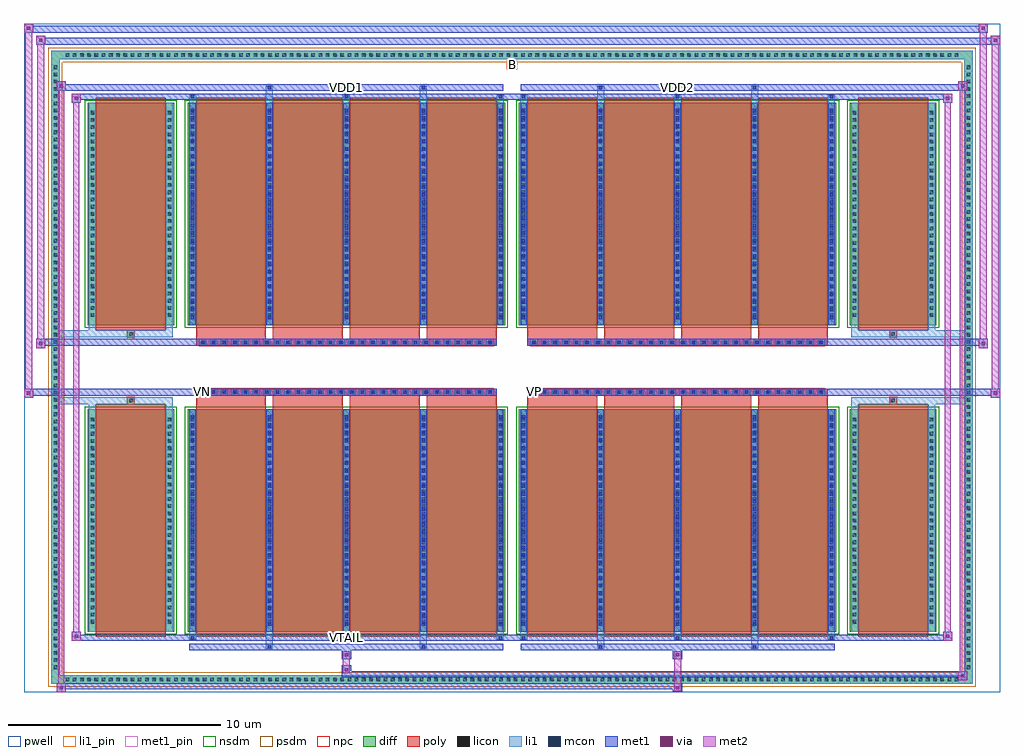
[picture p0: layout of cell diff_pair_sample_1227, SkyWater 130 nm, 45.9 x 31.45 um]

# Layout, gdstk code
import gdstk
lib = gdstk.Library(unit=1e-6, precision=5e-09)
def R(c, l, rs):  # rectangles x0, y0, x1, y1
    for r in rs: c.add(gdstk.rectangle(r[:2], r[2:], *l))
def A(c, l, x, y, w, h, nx, ny, dx, dy):  # array of equal rectangles
    R(c, l, [(x+i*dx, y+j*dy, x+i*dx+w, y+j*dy+h) for i in range(nx) for j in range(ny)])
def P(c, l, *ps):  # polygons
    for p in ps: c.add(gdstk.Polygon(p, *l))
pwell = (64, 44)
diff = (65, 20)
poly = (66, 20)
licon = (66, 44)
li1_pin = (67, 16)
li1 = (67, 20)
mcon = (67, 44)
met1_pin = (68, 16)
met1 = (68, 20)
via = (68, 44)
met2 = (69, 20)
nsdm = (93, 44)
psdm = (94, 20)
npc = (95, 20)

diff_pair_sample_1227 = lib.new_cell('diff_pair_sample_1227')
R(diff_pair_sample_1227, pwell, [(-22.95,-15.29,22.95,16.16), (-20.27,-13.48,-0.01,-0.8), (0.01,-13.48,20.27,-0.8), (-20.27,0.8,-0.01,13.48), (0.01,0.8,20.27,13.48)])
A(diff_pair_sample_1227, diff, -21.115, -14.89, 0.41, 0.41, 124, 2, 0.34, 29.37)
A(diff_pair_sample_1227, diff, -21.68, -14.315, 0.41, 0.41, 1, 84, 0, 0.34)
A(diff_pair_sample_1227, diff, 21.27, -14.315, 0.41, 0.41, 1, 84, 0, 0.34)
R(diff_pair_sample_1227, diff, [(-21.115,-14.89,21.115,-14.48), (-21.68,-14.315,-21.27,14.315), (21.27,-14.315,21.68,14.315), (-19.96,-12.435,-15.89,-1.985), (-15.25,-12.435,-0.32,-1.985), (0.32,-12.435,15.25,-1.985), (15.89,-12.435,19.96,-1.985), (-19.96,1.985,-15.89,12.435), (-15.25,1.985,-0.32,12.435), (0.32,1.985,15.25,12.435), (15.89,1.985,19.96,12.435), (-21.115,14.48,21.115,14.89)])
P(diff_pair_sample_1227, diff, [(21.68,14.89),(-21.68,14.89),(-21.68,-14.48),(-21.27,-14.48),(-21.27,14.48),(21.27,14.48),(21.27,-14.48),(-21.27,-14.48),(-21.68,-14.48),(-21.68,-14.89),(21.68,-14.89)])
A(diff_pair_sample_1227, poly, -14.86, -12.685, 3.29, 10.95, 4, 2, 3.62, 14.42)
A(diff_pair_sample_1227, poly, 0.71, -12.685, 3.29, 10.95, 4, 2, 3.62, 14.42)
A(diff_pair_sample_1227, poly, -14.86, -1.735, 3.29, 0.405, 4, 2, 3.62, 3.065)
A(diff_pair_sample_1227, poly, 0.71, -1.735, 3.29, 0.405, 4, 2, 3.62, 3.065)
A(diff_pair_sample_1227, poly, -14.7, -1.33, 0.33, 0.33, 28, 2, 0.5, 2.33)
A(diff_pair_sample_1227, poly, 0.87, -1.33, 0.33, 0.33, 28, 2, 0.5, 2.33)
R(diff_pair_sample_1227, poly, [(-19.57,-12.685,-16.28,-1.735), (16.28,-12.685,19.57,-1.735), (-18.09,-1.735,-17.76,-1.405), (-18.09,-1.735,-17.76,-1.405), (17.76,-1.735,18.09,-1.405), (17.76,-1.735,18.09,-1.405), (-14.86,-1.33,-0.71,-1), (0.71,-1.33,14.86,-1), (-14.86,1,-0.71,1.33), (0.71,1,14.86,1.33), (-18.09,1.405,-17.76,1.735), (-18.09,1.405,-17.76,1.735), (17.76,1.405,18.09,1.735), (17.76,1.405,18.09,1.735), (-19.57,1.735,-16.28,12.685), (16.28,1.735,19.57,12.685)])
A(diff_pair_sample_1227, licon, -20.995, -14.77, 0.17, 0.17, 124, 2, 0.34, 29.37)
A(diff_pair_sample_1227, licon, -21.56, -14.195, 0.17, 0.17, 1, 84, 0, 0.34)
A(diff_pair_sample_1227, licon, 21.39, -14.195, 0.17, 0.17, 1, 84, 0, 0.34)
A(diff_pair_sample_1227, licon, -19.82, -12.055, 0.17, 0.17, 1, 29, 0, 0.34)
A(diff_pair_sample_1227, licon, -16.2, -12.055, 0.17, 0.17, 1, 29, 0, 0.34)
A(diff_pair_sample_1227, licon, -15.11, -12.055, 0.17, 0.17, 5, 29, 3.62, 0.34)
A(diff_pair_sample_1227, licon, 0.46, -12.055, 0.17, 0.17, 5, 29, 3.62, 0.34)
A(diff_pair_sample_1227, licon, 16.03, -12.055, 0.17, 0.17, 1, 29, 0, 0.34)
A(diff_pair_sample_1227, licon, 19.65, -12.055, 0.17, 0.17, 1, 29, 0, 0.34)
A(diff_pair_sample_1227, licon, -14.62, -1.25, 0.17, 0.17, 28, 2, 0.5, 2.33)
A(diff_pair_sample_1227, licon, 0.95, -1.25, 0.17, 0.17, 28, 2, 0.5, 2.33)
A(diff_pair_sample_1227, licon, -19.82, 2.365, 0.17, 0.17, 1, 29, 0, 0.34)
A(diff_pair_sample_1227, licon, -16.2, 2.365, 0.17, 0.17, 1, 29, 0, 0.34)
A(diff_pair_sample_1227, licon, -15.11, 2.365, 0.17, 0.17, 5, 29, 3.62, 0.34)
A(diff_pair_sample_1227, licon, 0.46, 2.365, 0.17, 0.17, 5, 29, 3.62, 0.34)
A(diff_pair_sample_1227, licon, 16.03, 2.365, 0.17, 0.17, 1, 29, 0, 0.34)
A(diff_pair_sample_1227, licon, 19.65, 2.365, 0.17, 0.17, 1, 29, 0, 0.34)
R(diff_pair_sample_1227, licon, [(-18.01,-1.655,-17.84,-1.485), (17.84,-1.655,18.01,-1.485), (-18.01,1.485,-17.84,1.655), (17.84,1.485,18.01,1.655)])
R(diff_pair_sample_1227, li1_pin, [(-0.25,13.98,0.25,14.48)])
A(diff_pair_sample_1227, li1, -21.075, -14.85, 0.33, 0.33, 124, 2, 0.34, 29.37)
A(diff_pair_sample_1227, li1, -21.64, -14.275, 0.33, 0.33, 1, 84, 0, 0.34)
A(diff_pair_sample_1227, li1, 21.31, -14.275, 0.33, 0.33, 1, 84, 0, 0.34)
A(diff_pair_sample_1227, li1, -15.19, -12.81, 0.33, 0.375, 3, 2, 7.24, 25.245)
A(diff_pair_sample_1227, li1, -15.11, -12.81, 0.17, 0.17, 3, 2, 7.24, 25.45)
A(diff_pair_sample_1227, li1, 0.38, -12.81, 0.33, 0.375, 3, 2, 7.24, 25.245)
A(diff_pair_sample_1227, li1, 0.46, -12.81, 0.17, 0.17, 3, 2, 7.24, 25.45)
A(diff_pair_sample_1227, li1, -15.19, -12.435, 0.33, 10.45, 5, 2, 3.62, 14.42)
A(diff_pair_sample_1227, li1, 0.38, -12.435, 0.33, 10.45, 5, 2, 3.62, 14.42)
A(diff_pair_sample_1227, li1, -15.11, -12.155, 0.17, 0.17, 5, 28, 3.62, 0.36)
A(diff_pair_sample_1227, li1, -15.11, -12.155, 0.17, 9.89, 5, 2, 3.62, 14.42)
A(diff_pair_sample_1227, li1, 0.46, -12.155, 0.17, 0.17, 5, 28, 3.62, 0.36)
A(diff_pair_sample_1227, li1, 0.46, -12.155, 0.17, 9.89, 5, 2, 3.62, 14.42)
A(diff_pair_sample_1227, li1, -19.9, -12.135, 0.33, 0.33, 1, 29, 0, 0.34)
A(diff_pair_sample_1227, li1, -16.28, -12.135, 0.33, 0.33, 1, 29, 0, 0.34)
A(diff_pair_sample_1227, li1, -15.19, -12.135, 0.33, 0.33, 5, 29, 3.62, 0.34)
A(diff_pair_sample_1227, li1, 0.38, -12.135, 0.33, 0.33, 5, 29, 3.62, 0.34)
A(diff_pair_sample_1227, li1, 15.95, -12.135, 0.33, 0.33, 1, 29, 0, 0.34)
A(diff_pair_sample_1227, li1, 19.57, -12.135, 0.33, 0.33, 1, 29, 0, 0.34)
A(diff_pair_sample_1227, li1, -14.7, -1.33, 0.33, 0.33, 28, 2, 0.5, 2.33)
A(diff_pair_sample_1227, li1, 0.87, -1.33, 0.33, 0.33, 28, 2, 0.5, 2.33)
A(diff_pair_sample_1227, li1, -15.11, 2.265, 0.17, 0.17, 5, 28, 3.62, 0.36)
A(diff_pair_sample_1227, li1, 0.46, 2.265, 0.17, 0.17, 5, 28, 3.62, 0.36)
A(diff_pair_sample_1227, li1, -19.9, 2.285, 0.33, 0.33, 1, 29, 0, 0.34)
A(diff_pair_sample_1227, li1, -16.28, 2.285, 0.33, 0.33, 1, 29, 0, 0.34)
A(diff_pair_sample_1227, li1, -15.19, 2.285, 0.33, 0.33, 5, 29, 3.62, 0.34)
A(diff_pair_sample_1227, li1, 0.38, 2.285, 0.33, 0.33, 5, 29, 3.62, 0.34)
A(diff_pair_sample_1227, li1, 15.95, 2.285, 0.33, 0.33, 1, 29, 0, 0.34)
A(diff_pair_sample_1227, li1, 19.57, 2.285, 0.33, 0.33, 1, 29, 0, 0.34)
R(diff_pair_sample_1227, li1, [(-21.68,-14.89,-21.27,-14.48), (-21.68,-14.89,-21.27,-14.48), (-21.27,-14.89,21.27,-14.48), (21.27,-14.89,21.68,-14.48), (21.27,-14.89,21.68,-14.48), (-21.68,-14.48,-21.27,14.48), (21.27,-14.48,21.68,14.48), (-11.57,-13.24,-11.24,-12.435), (-11.49,-13.24,-11.32,-13.07), (-4.33,-13.24,-4,-12.435), (-4.25,-13.24,-4.08,-13.07), (4,-13.24,4.33,-12.435), (4.08,-13.24,4.25,-13.07), (11.24,-13.24,11.57,-12.435), (11.32,-13.24,11.49,-13.07), (-19.9,-12.435,-19.57,-1.985), (-16.28,-12.435,-15.95,-1.985), (15.95,-12.435,16.28,-1.985), (19.57,-12.435,19.9,-1.985), (-19.9,-1.985,-19.57,-1.405), (-16.28,-1.985,-15.95,-1.405), (15.95,-1.985,16.28,-1.405), (19.57,-1.985,19.9,-1.405), (-21.68,-1.735,-18.09,-1.405), (-19.9,-1.735,-18.09,-1.405), (-18.09,-1.735,-17.76,-1.405), (-17.76,-1.735,-15.95,-1.405), (15.95,-1.735,17.76,-1.405), (17.76,-1.735,18.09,-1.405), (17.76,-1.735,21.68,-1.405), (18.09,-1.735,19.9,-1.405), (-21.68,1.405,-18.09,1.735), (-19.9,1.405,-18.09,1.735), (-19.9,1.405,-19.57,1.985), (-18.09,1.405,-17.76,1.735), (-17.76,1.405,-15.95,1.735), (-16.28,1.405,-15.95,1.985), (15.95,1.405,17.76,1.735), (15.95,1.405,16.28,1.985), (17.76,1.405,18.09,1.735), (17.76,1.405,21.68,1.735), (18.09,1.405,19.9,1.735), (19.57,1.405,19.9,1.985), (-19.9,1.985,-19.57,12.435), (-16.28,1.985,-15.95,12.435), (15.95,1.985,16.28,12.435), (19.57,1.985,19.9,12.435), (-11.57,12.435,-11.24,13.24), (-4.33,12.435,-4,13.24), (4,12.435,4.33,13.24), (11.24,12.435,11.57,13.24), (-11.49,13.07,-11.32,13.24), (-4.25,13.07,-4.08,13.24), (4.08,13.07,4.25,13.24), (11.32,13.07,11.49,13.24), (-21.68,14.48,-21.27,14.89), (-21.68,14.48,-21.27,14.89), (-21.27,14.48,21.27,14.89), (21.27,14.48,21.68,14.89), (21.27,14.48,21.68,14.89)])
A(diff_pair_sample_1227, mcon, -15.11, -12.81, 0.17, 0.17, 3, 2, 7.24, 25.45)
A(diff_pair_sample_1227, mcon, 0.46, -12.81, 0.17, 0.17, 3, 2, 7.24, 25.45)
A(diff_pair_sample_1227, mcon, -15.11, -12.155, 0.17, 0.17, 5, 28, 3.62, 0.36)
A(diff_pair_sample_1227, mcon, 0.46, -12.155, 0.17, 0.17, 5, 28, 3.62, 0.36)
A(diff_pair_sample_1227, mcon, -14.62, -1.25, 0.17, 0.17, 28, 2, 0.5, 2.33)
A(diff_pair_sample_1227, mcon, 0.95, -1.25, 0.17, 0.17, 28, 2, 0.5, 2.33)
A(diff_pair_sample_1227, mcon, -15.11, 2.265, 0.17, 0.17, 5, 28, 3.62, 0.36)
A(diff_pair_sample_1227, mcon, 0.46, 2.265, 0.17, 0.17, 5, 28, 3.62, 0.36)
R(diff_pair_sample_1227, mcon, [(-11.49,-13.24,-11.32,-13.07), (-4.25,-13.24,-4.08,-13.07), (4.08,-13.24,4.25,-13.07), (11.32,-13.24,11.49,-13.07), (-11.49,13.07,-11.32,13.24), (-4.25,13.07,-4.08,13.24), (4.08,13.07,4.25,13.24), (11.32,13.07,11.49,13.24)])
R(diff_pair_sample_1227, met1_pin, [(-7.92,-12.85,-7.65,-12.58), (-14.67,-1.29,-14.4,-1.02), (0.9,-1.29,1.17,-1.02), (-7.92,13.03,-7.65,13.3), (7.65,13.03,7.92,13.3)])
A(diff_pair_sample_1227, met1, -15.17, -12.87, 0.29, 0.29, 3, 2, 7.24, 25.45)
A(diff_pair_sample_1227, met1, 0.4, -12.87, 0.29, 0.29, 3, 2, 7.24, 25.45)
A(diff_pair_sample_1227, met1, -15.17, -12.435, 0.29, 10.45, 5, 2, 3.62, 14.42)
A(diff_pair_sample_1227, met1, 0.4, -12.435, 0.29, 10.45, 5, 2, 3.62, 14.42)
A(diff_pair_sample_1227, met1, -15.17, -12.215, 0.29, 0.29, 5, 28, 3.62, 0.36)
A(diff_pair_sample_1227, met1, 0.4, -12.215, 0.29, 0.29, 5, 28, 3.62, 0.36)
A(diff_pair_sample_1227, met1, -14.68, -1.31, 0.29, 0.29, 28, 2, 0.5, 2.33)
A(diff_pair_sample_1227, met1, 0.89, -1.31, 0.29, 0.29, 28, 2, 0.5, 2.33)
A(diff_pair_sample_1227, met1, -15.17, 2.205, 0.29, 0.29, 5, 28, 3.62, 0.36)
A(diff_pair_sample_1227, met1, 0.4, 2.205, 0.29, 0.29, 5, 28, 3.62, 0.36)
R(diff_pair_sample_1227, met1, [(-21.41,-15.29,-20.98,-14.86), (7.57,-15.29,8,-14.86), (-21.41,-15.15,8,-14.86), (20.98,-14.72,21.41,-14.29), (-8,-14.58,21.41,-14.29), (-8,-14.44,-7.57,-14.01), (-8,-13.73,-7.57,-13.3), (7.57,-13.73,8,-13.3), (-15.17,-13.3,-0.4,-13.01), (-11.55,-13.3,-11.26,-13.01), (-4.31,-13.3,-4.02,-13.01), (0.4,-13.3,15.17,-13.01), (4.02,-13.3,4.31,-13.01), (11.26,-13.3,11.55,-13.01), (-20.7,-12.87,-20.27,-12.44), (-20.7,-12.87,-15.17,-12.58), (-15.17,-12.87,-0.4,-12.58), (-0.4,-12.87,0.4,-12.58), (0.4,-12.87,15.17,-12.58), (15.17,-12.87,20.7,-12.58), (20.27,-12.87,20.7,-12.44), (-22.95,-1.43,-22.52,-1), (22.52,-1.43,22.95,-1), (-22.95,-1.33,-0.71,-1), (-14.86,-1.33,-0.71,-1), (0.71,-1.33,14.86,-1), (0.71,-1.33,22.95,-1), (-22.38,0.9,-21.95,1.33), (21.95,0.9,22.38,1.33), (-22.38,1,-14.86,1.33), (-14.86,1,-0.71,1.33), (0.71,1,14.86,1.33), (14.86,1,22.38,1.33), (-20.7,12.44,-20.27,12.87), (20.27,12.44,20.7,12.87), (-20.7,12.58,-15.17,12.87), (-15.17,12.58,-0.4,12.87), (-0.4,12.58,0.4,12.87), (0.4,12.58,15.17,12.87), (15.17,12.58,20.7,12.87), (-21.41,13.01,-20.98,13.44), (-21.41,13.01,-15.17,13.3), (-15.17,13.01,-0.4,13.3), (-11.55,13.01,-11.26,13.3), (-4.31,13.01,-4.02,13.3), (0.4,13.01,15.17,13.3), (4.02,13.01,4.31,13.3), (11.26,13.01,11.55,13.3), (15.17,13.01,21.41,13.3), (20.98,13.01,21.41,13.44), (-22.38,15.16,-21.95,15.59), (-22.38,15.16,-20.27,15.49), (-20.27,15.16,20.27,15.49), (20.27,15.16,22.95,15.49), (22.52,15.16,22.95,15.59), (-22.95,15.73,-22.52,16.16), (-22.95,15.73,-20.27,16.06), (-20.27,15.73,20.27,16.06), (20.27,15.73,22.38,16.06), (21.95,15.73,22.38,16.16)])
R(diff_pair_sample_1227, via, [(-21.27,-15.15,-21.12,-15), (7.71,-15.15,7.86,-15), (21.12,-14.58,21.27,-14.43), (-7.86,-14.3,-7.71,-14.15), (-7.86,-13.59,-7.71,-13.44), (7.71,-13.59,7.86,-13.44), (-20.56,-12.73,-20.41,-12.58), (20.41,-12.73,20.56,-12.58), (-22.81,-1.29,-22.66,-1.14), (22.66,-1.29,22.81,-1.14), (-22.24,1.04,-22.09,1.19), (22.09,1.04,22.24,1.19), (-20.56,12.58,-20.41,12.73), (20.41,12.58,20.56,12.73), (-21.27,13.15,-21.12,13.3), (21.12,13.15,21.27,13.3), (-22.24,15.3,-22.09,15.45), (22.66,15.3,22.81,15.45), (-22.81,15.87,-22.66,16.02), (22.09,15.87,22.24,16.02)])
R(diff_pair_sample_1227, met2, [(-21.41,-15.29,-20.98,-14.86), (-21.34,-15.29,-21.05,13.44), (-21.05,-15.29,-20.98,-14.86), (-21.36,-15.24,-21.03,-14.91), (7.62,-15.24,7.95,-14.91), (7.62,-14.91,7.95,-13.68), (20.98,-14.72,21.41,-14.29), (21.05,-14.72,21.34,13.44), (21.34,-14.72,21.41,-14.29), (21.03,-14.67,21.36,-14.34), (-7.95,-14.39,-7.62,-14.06), (-7.95,-14.06,-7.62,-13.68), (-7.95,-13.68,-7.62,-13.35), (7.62,-13.68,7.95,-13.35), (-20.7,-12.87,-20.27,-12.44), (-20.63,-12.87,-20.34,12.87), (-20.34,-12.87,-20.27,-12.44), (20.27,-12.87,20.7,-12.44), (20.34,-12.87,20.63,12.87), (20.63,-12.87,20.7,-12.44), (-20.65,-12.82,-20.32,-12.49), (20.32,-12.82,20.65,-12.49), (-22.95,-1.43,-22.52,-1), (-22.9,-1.43,-22.57,16.16), (-22.57,-1.43,-22.52,-1), (22.52,-1.43,22.95,-1), (22.57,-1.43,22.9,15.59), (22.9,-1.43,22.95,-1), (-22.9,-1.38,-22.57,-1.05), (22.57,-1.38,22.9,-1.05), (-22.38,0.9,-21.95,1.33), (-22.33,0.9,-22,15.59), (-22,0.9,-21.95,1.33), (21.95,0.9,22.38,1.33), (22,0.9,22.33,16.16), (22.33,0.9,22.38,1.33), (-22.33,0.95,-22,1.28), (22,0.95,22.33,1.28), (-20.7,12.44,-20.27,12.87), (-20.34,12.44,-20.27,12.87), (20.27,12.44,20.7,12.87), (20.63,12.44,20.7,12.87), (-20.65,12.49,-20.32,12.82), (20.32,12.49,20.65,12.82), (-21.41,13.01,-20.98,13.44), (-21.05,13.01,-20.98,13.44), (20.98,13.01,21.41,13.44), (21.34,13.01,21.41,13.44), (-21.36,13.06,-21.03,13.39), (21.03,13.06,21.36,13.39), (-22.38,15.16,-21.95,15.59), (-22,15.16,-21.95,15.59), (22.52,15.16,22.95,15.59), (22.9,15.16,22.95,15.59), (-22.33,15.21,-22,15.54), (22.57,15.21,22.9,15.54), (-22.95,15.73,-22.52,16.16), (-22.57,15.73,-22.52,16.16), (21.95,15.73,22.38,16.16), (22.33,15.73,22.38,16.16), (-22.9,15.78,-22.57,16.11), (22,15.78,22.33,16.11)])
R(diff_pair_sample_1227, nsdm, [(-20.09,-12.565,-15.76,-1.855), (-15.38,-12.565,-0.19,-1.855), (0.19,-12.565,15.38,-1.855), (15.76,-12.565,20.09,-1.855), (-20.09,1.855,-15.76,12.565), (-15.38,1.855,-0.19,12.565), (0.19,1.855,15.38,12.565), (15.76,1.855,20.09,12.565)])
P(diff_pair_sample_1227, psdm, [(21.81,15.02),(-21.81,15.02),(-21.81,-14.35),(-21.14,-14.35),(-21.14,14.35),(21.14,14.35),(21.14,-14.35),(-21.14,-14.35),(-21.81,-14.35),(-21.81,-15.02),(21.81,-15.02)])
A(diff_pair_sample_1227, npc, -14.72, -1.35, 0.37, 0.37, 28, 2, 0.5, 2.33)
A(diff_pair_sample_1227, npc, 0.85, -1.35, 0.37, 0.37, 28, 2, 0.5, 2.33)
R(diff_pair_sample_1227, npc, [(-18.11,-1.755,-17.74,-1.385), (17.74,-1.755,18.11,-1.385), (-14.72,-1.35,-13.85,-0.98), (-14.72,-1.35,-13.85,-0.98), (-14.22,-1.35,-13.35,-0.98), (-14.22,-1.35,-13.35,-0.98), (-13.72,-1.35,-12.85,-0.98), (-13.72,-1.35,-12.85,-0.98), (-13.22,-1.35,-12.35,-0.98), (-13.22,-1.35,-12.35,-0.98), (-12.72,-1.35,-11.85,-0.98), (-12.72,-1.35,-11.85,-0.98), (-12.22,-1.35,-11.35,-0.98), (-12.22,-1.35,-11.35,-0.98), (-11.72,-1.35,-10.85,-0.98), (-11.72,-1.35,-10.85,-0.98), (-11.22,-1.35,-10.35,-0.98), (-11.22,-1.35,-10.35,-0.98), (-10.72,-1.35,-9.85,-0.98), (-10.72,-1.35,-9.85,-0.98), (-10.22,-1.35,-9.35,-0.98), (-10.22,-1.35,-9.35,-0.98), (-9.72,-1.35,-8.85,-0.98), (-9.72,-1.35,-8.85,-0.98), (-9.22,-1.35,-8.35,-0.98), (-9.22,-1.35,-8.35,-0.98), (-8.72,-1.35,-7.85,-0.98), (-8.72,-1.35,-7.85,-0.98), (-8.22,-1.35,-7.35,-0.98), (-8.22,-1.35,-7.35,-0.98), (-7.72,-1.35,-6.85,-0.98), (-7.72,-1.35,-6.85,-0.98), (-7.22,-1.35,-6.35,-0.98), (-7.22,-1.35,-6.35,-0.98), (-6.72,-1.35,-5.85,-0.98), (-6.72,-1.35,-5.85,-0.98), (-6.22,-1.35,-5.35,-0.98), (-6.22,-1.35,-5.35,-0.98), (-5.72,-1.35,-4.85,-0.98), (-5.72,-1.35,-4.85,-0.98), (-5.22,-1.35,-4.35,-0.98), (-5.22,-1.35,-4.35,-0.98), (-4.72,-1.35,-3.85,-0.98), (-4.72,-1.35,-3.85,-0.98), (-4.22,-1.35,-3.35,-0.98), (-4.22,-1.35,-3.35,-0.98), (-3.72,-1.35,-2.85,-0.98), (-3.72,-1.35,-2.85,-0.98), (-3.22,-1.35,-2.35,-0.98), (-3.22,-1.35,-2.35,-0.98), (-2.72,-1.35,-1.85,-0.98), (-2.72,-1.35,-1.85,-0.98), (-2.22,-1.35,-1.35,-0.98), (-2.22,-1.35,-1.35,-0.98), (-1.72,-1.35,-0.85,-0.98), (-1.72,-1.35,-0.85,-0.98), (0.85,-1.35,1.72,-0.98), (0.85,-1.35,1.72,-0.98), (1.35,-1.35,2.22,-0.98), (1.35,-1.35,2.22,-0.98), (1.85,-1.35,2.72,-0.98), (1.85,-1.35,2.72,-0.98), (2.35,-1.35,3.22,-0.98), (2.35,-1.35,3.22,-0.98), (2.85,-1.35,3.72,-0.98), (2.85,-1.35,3.72,-0.98), (3.35,-1.35,4.22,-0.98), (3.35,-1.35,4.22,-0.98), (3.85,-1.35,4.72,-0.98), (3.85,-1.35,4.72,-0.98), (4.35,-1.35,5.22,-0.98), (4.35,-1.35,5.22,-0.98), (4.85,-1.35,5.72,-0.98), (4.85,-1.35,5.72,-0.98), (5.35,-1.35,6.22,-0.98), (5.35,-1.35,6.22,-0.98), (5.85,-1.35,6.72,-0.98), (5.85,-1.35,6.72,-0.98), (6.35,-1.35,7.22,-0.98), (6.35,-1.35,7.22,-0.98), (6.85,-1.35,7.72,-0.98), (6.85,-1.35,7.72,-0.98), (7.35,-1.35,8.22,-0.98), (7.35,-1.35,8.22,-0.98), (7.85,-1.35,8.72,-0.98), (7.85,-1.35,8.72,-0.98), (8.35,-1.35,9.22,-0.98), (8.35,-1.35,9.22,-0.98), (8.85,-1.35,9.72,-0.98), (8.85,-1.35,9.72,-0.98), (9.35,-1.35,10.22,-0.98), (9.35,-1.35,10.22,-0.98), (9.85,-1.35,10.72,-0.98), (9.85,-1.35,10.72,-0.98), (10.35,-1.35,11.22,-0.98), (10.35,-1.35,11.22,-0.98), (10.85,-1.35,11.72,-0.98), (10.85,-1.35,11.72,-0.98), (11.35,-1.35,12.22,-0.98), (11.35,-1.35,12.22,-0.98), (11.85,-1.35,12.72,-0.98), (11.85,-1.35,12.72,-0.98), (12.35,-1.35,13.22,-0.98), (12.35,-1.35,13.22,-0.98), (12.85,-1.35,13.72,-0.98), (12.85,-1.35,13.72,-0.98), (13.35,-1.35,14.22,-0.98), (13.35,-1.35,14.22,-0.98), (13.85,-1.35,14.72,-0.98), (13.85,-1.35,14.72,-0.98), (-14.72,0.98,-13.85,1.35), (-14.72,0.98,-13.85,1.35), (-14.22,0.98,-13.35,1.35), (-14.22,0.98,-13.35,1.35), (-13.72,0.98,-12.85,1.35), (-13.72,0.98,-12.85,1.35), (-13.22,0.98,-12.35,1.35), (-13.22,0.98,-12.35,1.35), (-12.72,0.98,-11.85,1.35), (-12.72,0.98,-11.85,1.35), (-12.22,0.98,-11.35,1.35), (-12.22,0.98,-11.35,1.35), (-11.72,0.98,-10.85,1.35), (-11.72,0.98,-10.85,1.35), (-11.22,0.98,-10.35,1.35), (-11.22,0.98,-10.35,1.35), (-10.72,0.98,-9.85,1.35), (-10.72,0.98,-9.85,1.35), (-10.22,0.98,-9.35,1.35), (-10.22,0.98,-9.35,1.35), (-9.72,0.98,-8.85,1.35), (-9.72,0.98,-8.85,1.35), (-9.22,0.98,-8.35,1.35), (-9.22,0.98,-8.35,1.35), (-8.72,0.98,-7.85,1.35), (-8.72,0.98,-7.85,1.35), (-8.22,0.98,-7.35,1.35), (-8.22,0.98,-7.35,1.35), (-7.72,0.98,-6.85,1.35), (-7.72,0.98,-6.85,1.35), (-7.22,0.98,-6.35,1.35), (-7.22,0.98,-6.35,1.35), (-6.72,0.98,-5.85,1.35), (-6.72,0.98,-5.85,1.35), (-6.22,0.98,-5.35,1.35), (-6.22,0.98,-5.35,1.35), (-5.72,0.98,-4.85,1.35), (-5.72,0.98,-4.85,1.35), (-5.22,0.98,-4.35,1.35), (-5.22,0.98,-4.35,1.35), (-4.72,0.98,-3.85,1.35), (-4.72,0.98,-3.85,1.35), (-4.22,0.98,-3.35,1.35), (-4.22,0.98,-3.35,1.35), (-3.72,0.98,-2.85,1.35), (-3.72,0.98,-2.85,1.35), (-3.22,0.98,-2.35,1.35), (-3.22,0.98,-2.35,1.35), (-2.72,0.98,-1.85,1.35), (-2.72,0.98,-1.85,1.35), (-2.22,0.98,-1.35,1.35), (-2.22,0.98,-1.35,1.35), (-1.72,0.98,-0.85,1.35), (-1.72,0.98,-0.85,1.35), (0.85,0.98,1.72,1.35), (0.85,0.98,1.72,1.35), (1.35,0.98,2.22,1.35), (1.35,0.98,2.22,1.35), (1.85,0.98,2.72,1.35), (1.85,0.98,2.72,1.35), (2.35,0.98,3.22,1.35), (2.35,0.98,3.22,1.35), (2.85,0.98,3.72,1.35), (2.85,0.98,3.72,1.35), (3.35,0.98,4.22,1.35), (3.35,0.98,4.22,1.35), (3.85,0.98,4.72,1.35), (3.85,0.98,4.72,1.35), (4.35,0.98,5.22,1.35), (4.35,0.98,5.22,1.35), (4.85,0.98,5.72,1.35), (4.85,0.98,5.72,1.35), (5.35,0.98,6.22,1.35), (5.35,0.98,6.22,1.35), (5.85,0.98,6.72,1.35), (5.85,0.98,6.72,1.35), (6.35,0.98,7.22,1.35), (6.35,0.98,7.22,1.35), (6.85,0.98,7.72,1.35), (6.85,0.98,7.72,1.35), (7.35,0.98,8.22,1.35), (7.35,0.98,8.22,1.35), (7.85,0.98,8.72,1.35), (7.85,0.98,8.72,1.35), (8.35,0.98,9.22,1.35), (8.35,0.98,9.22,1.35), (8.85,0.98,9.72,1.35), (8.85,0.98,9.72,1.35), (9.35,0.98,10.22,1.35), (9.35,0.98,10.22,1.35), (9.85,0.98,10.72,1.35), (9.85,0.98,10.72,1.35), (10.35,0.98,11.22,1.35), (10.35,0.98,11.22,1.35), (10.85,0.98,11.72,1.35), (10.85,0.98,11.72,1.35), (11.35,0.98,12.22,1.35), (11.35,0.98,12.22,1.35), (11.85,0.98,12.72,1.35), (11.85,0.98,12.72,1.35), (12.35,0.98,13.22,1.35), (12.35,0.98,13.22,1.35), (12.85,0.98,13.72,1.35), (12.85,0.98,13.72,1.35), (13.35,0.98,14.22,1.35), (13.35,0.98,14.22,1.35), (13.85,0.98,14.72,1.35), (13.85,0.98,14.72,1.35), (-18.11,1.385,-17.74,1.755), (17.74,1.385,18.11,1.755)])
diff_pair_sample_1227.add(gdstk.Label('VTAIL', (-7.785,-12.715), layer=68, texttype=5))
diff_pair_sample_1227.add(gdstk.Label('VN', (-14.535,-1.155), layer=68, texttype=5))
diff_pair_sample_1227.add(gdstk.Label('VP', (1.035,-1.155), layer=68, texttype=5))
diff_pair_sample_1227.add(gdstk.Label('B', (0,14.23), layer=67, texttype=5))
diff_pair_sample_1227.add(gdstk.Label('VDD2', (7.785,13.165), layer=68, texttype=5))
diff_pair_sample_1227.add(gdstk.Label('VDD1', (-7.785,13.165), layer=68, texttype=5))

lib.write_gds('diff_pair_sample_1227.gds')
